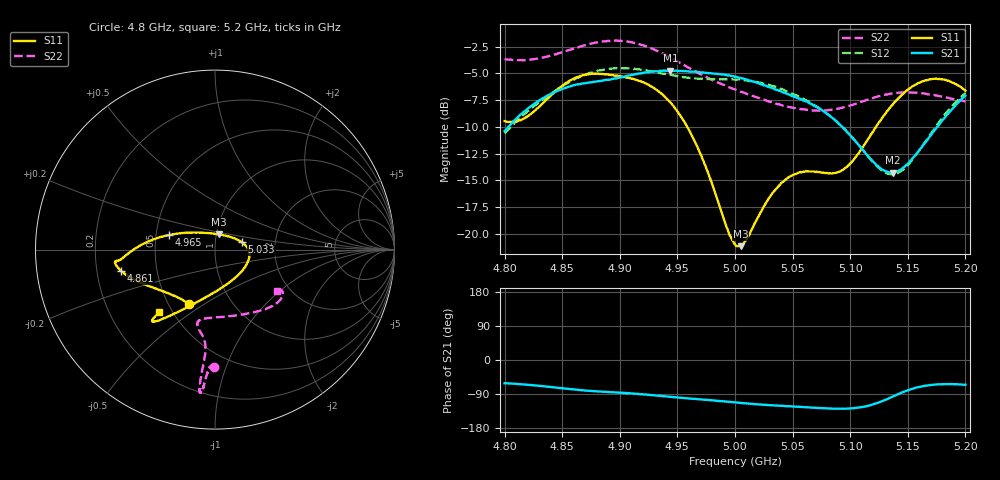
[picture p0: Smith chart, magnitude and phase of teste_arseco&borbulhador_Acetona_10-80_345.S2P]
! Network Analyzer HP8722D
! Hewlett-Packard
! Data name: Linha & Wilkinson
! Saver's name: Rodrigo Anjos
! Comments: Teste da utilização de aquisição
! continua pelo VNA HP8722D
! Time and date: 17/4/2025 17:14
!  Frequency  S11  S21  S12  S22
# HZ  S  MA R 50
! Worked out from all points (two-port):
!   401 points, 4.8 GHz to 5.2 GHz, reference 50 ohm
!   highest |S21| = -4.72 dB at 4.944 GHz (marker M1); lowest = -14.3 dB at 5.137 GHz (marker M2)
!   |S21| within 3 dB of the highest: 4.827 GHz to 5.064 GHz (236.4 MHz wide, 4.78 % of centre); 5.193775 GHz to end of sweep
!   lowest |S11| = -21.2 dB at 5.005 GHz (marker M3), VSWR 1.19, Z = 51.6 + j8.75 ohm
!   |S11| at or under -10 dB: 4.958 GHz to 5.122 GHz (163.9 MHz wide, 3.25 % of centre)
!   |S22| runs from -8.5 to -1.9 dB; largest |S21 - S12| = 0.87
!   S11 on the Smith chart (normalised r, x): 4.8 GHz: 0.63, -0.44; 4.861 GHz: 0.31, -0.10; 4.965 GHz: 0.58, +0.10; 5.033 GHz: 1.35, +0.11; 5.2 GHz: 0.43, -0.38
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4.8e9  0.3366 -115.2  0.3021 -61.3  0.295 -175.5  0.6564 -90.5
4.819e9  0.352 -135.1  0.3807 -65.1  0.3692 -174.7  0.6515 -92.2
4.861e9  0.5356 -166.9  0.4958 -78.1  0.529 -178.0  0.7384 -94.4
4.867e9  0.5495 -169.3  0.5053 -79.9  0.5472 -179.0  0.7563 -94.6
4.898e9  0.5484 -173.5  0.536 -85.8  0.5932 174.8  0.801 -95.9
4.934e9  0.462 -179.2  0.5755 -94.4  0.5686 171.1  0.7101 -96.3
4.944e9  0.4107 176.2  0.5805 -97.3  0.554 171.2  0.6682 -96.0
4.965e9  0.2709 162.7  0.5746 -102.8  0.5328 173.0  0.5767 -95.5
4.977e9  0.1901 150.6  0.5652 -105.8  0.5301 174.3  0.5344 -95.8
4.994e9  0.1028 115.8  0.5498 -110.2  0.5277 175.2  0.4869 -98.0
5e9  0.08896 94.6  0.5421 -111.8  0.5268 175.2  0.4731 -99.4
5.005e9  0.08725 74.7  0.5347 -113.5  0.5239 175.3  0.4614 -100.6
5.033e9  0.1558 15.4  0.4795 -119.7  0.4896 174.0  0.41 -103.2
5.048e9  0.1854 0.5  0.446 -122.2  0.4591 173.6  0.3902 -99.8
5.067e9  0.1954 -19.7  0.4035 -125.7  0.4079 173.0  0.3773 -89.5
5.096e9  0.2032 -70.3  0.3043 -128.3  0.3049 174.7  0.3925 -67.1
5.121e9  0.3076 -108.7  0.2141 -116.2  0.2128 -171.1  0.4347 -49.8
5.134e9  0.3854 -119.0  0.1934 -100.5  0.1899 -153.6  0.4514 -43.2
5.137e9  0.4029 -120.7  0.1929 -96.6  0.1897 -148.8  0.4539 -41.9
5.15e9  0.472 -126.2  0.2125 -79.9  0.2093 -129.7  0.4587 -37.1
5.17e9  0.5283 -130.5  0.2887 -66.0  0.2944 -112.1  0.448 -32.5
5.2e9  0.4668 -131.8  0.4427 -65.4  0.4547 -107.7  0.4157 -33.9
